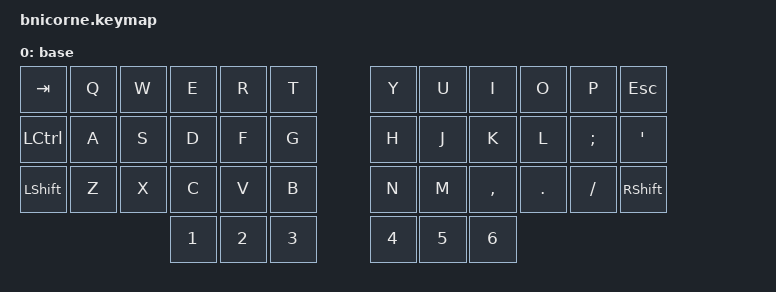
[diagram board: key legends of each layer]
/*
 * Diagnostic keymap — thumb keys output numbers 1-6
 * Press each thumb key from left-to-right and report which numbers come out
 *
 * Expected physical layout:
 *   Left outer=1, Left middle=2, Left inner=3 | Right inner=4, Right middle=5, Right outer=6
 */

#include <behaviors.dtsi>
#include <dt-bindings/zmk/keys.h>
#include <dt-bindings/zmk/bt.h>

/ {
    keymap {
        compatible = "zmk,keymap";

        base {
            bindings = <
&kp TAB    &kp Q  &kp W  &kp E  &kp R  &kp T    &kp Y  &kp U  &kp I      &kp O    &kp P     &kp ESC
&kp LCTRL  &kp A  &kp S  &kp D  &kp F  &kp G    &kp H  &kp J  &kp K      &kp L    &kp SEMI  &kp SQT
&kp LSHFT  &kp Z  &kp X  &kp C  &kp V  &kp B    &kp N  &kp M  &kp COMMA  &kp DOT  &kp FSLH  &kp RSHIFT
                          &kp N1 &kp N2 &kp N3   &kp N4 &kp N5 &kp N6
            >;
        };
    };
};
